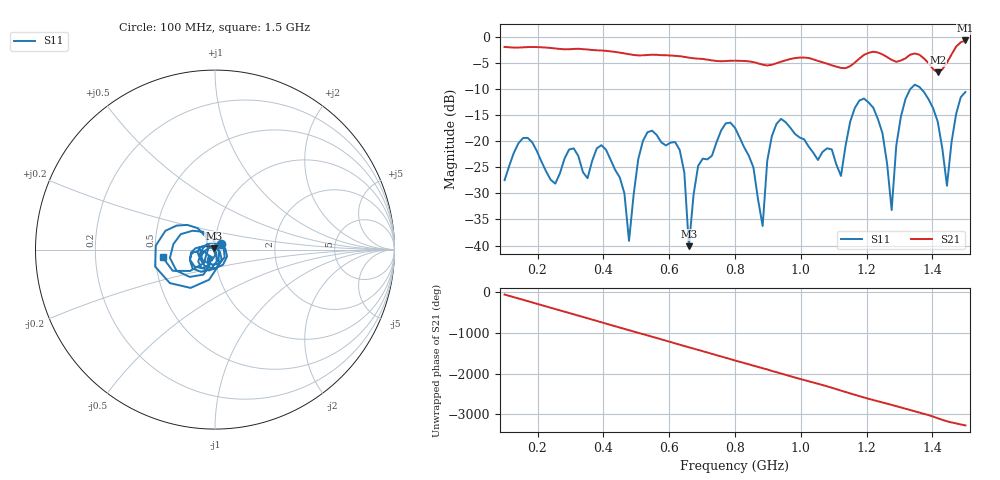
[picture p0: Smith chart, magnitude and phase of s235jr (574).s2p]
! NanoVNA-App
! Date: 2025-09-25 15:08:38
! Start: 100MHz Stop: 1,5GHz Points: 101
! S-Parameter data: F S11 S21 S12 S22
# Hz S RI R 50
!  Frequency  S11_Real  S11_Imag  S21_Real  S21_Imag  S12_Real  S12_Imag  S22_Real  S22_Imag
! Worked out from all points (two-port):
!   101 points, 100 MHz to 1.5 GHz, reference 50 ohm
!   highest |S21| = -0.73 dB at 1.5 GHz (marker M1); lowest = -6.8 dB at 1.416 GHz (marker M2)
!   |S21| within 3 dB of the highest: start of sweep to 629.2 MHz; 1.187 GHz to 1.257 GHz (69.72 MHz wide, 5.7 % of centre) (the widest 2 of 4)
!   lowest |S11| = -40.1 dB at 660 MHz (marker M3), VSWR 1.02, Z = 49.3 + j0.642 ohm
!   |S11| at or under -10 dB: start of sweep to 1.333 GHz; 1.366 GHz to end of sweep
!   S12 and S22 are empty: the file has one direction only
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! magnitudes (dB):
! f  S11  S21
! 100 MHz  -27.5  -2.0
! 156 MHz  -19.4  -2.0
! 338 MHz  -26.0  -2.4
! 408 MHz  -21.6  -2.7
! 478 MHz  -39.1  -3.4
! 520 MHz  -20.0  -3.6
! 576 MHz  -20.2  -3.5
! 632 MHz  -21.7  -3.7
! 660 MHz  -40.1  -4.0
! 688 MHz  -24.7  -4.2
! 800 MHz  -17.5  -4.6
! 884 MHz  -36.3  -5.4
! 926 MHz  -16.7  -5.1
! 1.038 GHz  -22.2  -4.3
! 1.122 GHz  -26.7  -6.0
! 1.192 GHz  -11.9  -3.5
! 1.248 GHz  -18.5  -3.4
! 1.276 GHz  -33.2  -4.4
! 1.332 GHz  -10.1  -3.5
! 1.416 GHz  -16.3  -6.8
! 1.444 GHz  -28.5  -5.0
! 1.5 GHz  -10.6  -0.7
